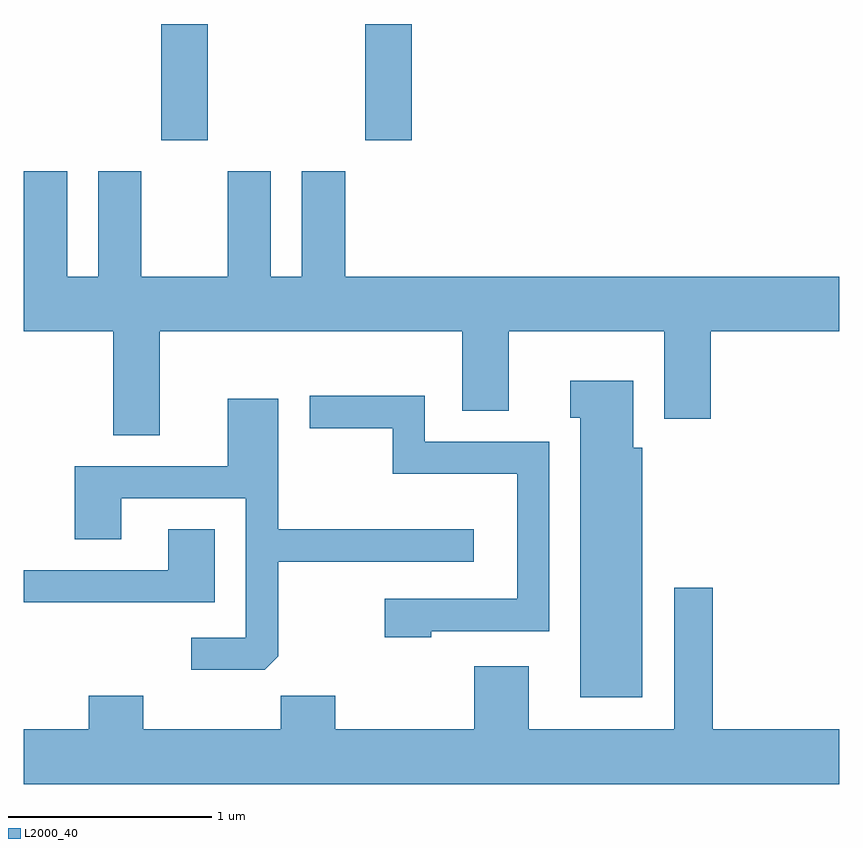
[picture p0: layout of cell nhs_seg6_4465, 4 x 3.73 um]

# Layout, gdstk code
import gdstk
lib = gdstk.Library(unit=1e-6, precision=1e-09)
def R(c, l, rs):  # rectangles x0, y0, x1, y1
    for r in rs: c.add(gdstk.rectangle(r[:2], r[2:], *l))
def P(c, l, *ps):  # polygons
    for p in ps: c.add(gdstk.Polygon(p, *l))
L2000_40 = (2000, 40)

nhs_seg6_4465 = lib.new_cell('nhs_seg6_4465')
R(nhs_seg6_4465, L2000_40, [(322.286,1597.591,322.514,1598.162), (323.286,1597.591,323.514,1598.162)])
P(nhs_seg6_4465, L2000_40, [(322.279,1596.656),(323.761,1596.656),(323.761,1596.266),(323.989,1596.266),(323.989,1596.656),(324.751,1596.656),(324.751,1596.226),(324.979,1596.226),(324.979,1596.656),(325.611,1596.656),(325.611,1596.924),(323.189,1596.924),(323.189,1597.439),(322.976,1597.439),(322.976,1596.924),(322.824,1596.924),(322.824,1597.439),(322.611,1597.439),(322.611,1596.924),(322.189,1596.924),(322.189,1597.439),(321.976,1597.439),(321.976,1596.924),(321.824,1596.924),(321.824,1597.439),(321.611,1597.439),(321.611,1596.656),(322.051,1596.656),(322.051,1596.146),(322.279,1596.146)],
  [(324.644,1596.084),(324.599,1596.084),(324.599,1596.414),(324.291,1596.414),(324.291,1596.231),(324.341,1596.231),(324.341,1594.861),(324.644,1594.861)],
  [(323.609,1595.186),(324.189,1595.186),(324.189,1596.114),(323.579,1596.114),(323.579,1596.339),(323.013,1596.339),(323.013,1596.181),(323.421,1596.181),(323.421,1595.956),(324.031,1595.956),(324.031,1595.344),(323.381,1595.344),(323.381,1595.156),(323.609,1595.156)],
  [(322.859,1595.062),(322.859,1595.526),(323.818,1595.526),(323.818,1595.684),(322.859,1595.684),(322.859,1596.324),(322.611,1596.324),(322.611,1595.994),(321.861,1595.994),(321.861,1595.636),(322.089,1595.636),(322.089,1595.836),(322.701,1595.836),(322.701,1595.154),(322.433,1595.154),(322.433,1594.996),(322.794,1594.996)],
  [(322.549,1595.684),(322.321,1595.684),(322.321,1595.484),(321.611,1595.484),(321.611,1595.326),(322.549,1595.326)],
  [(325.611,1594.704),(324.989,1594.704),(324.989,1595.399),(324.801,1595.399),(324.801,1594.704),(324.089,1594.704),(324.089,1595.014),(323.821,1595.014),(323.821,1594.704),(323.139,1594.704),(323.139,1594.869),(322.871,1594.869),(322.871,1594.704),(322.199,1594.704),(322.199,1594.869),(321.931,1594.869),(321.931,1594.704),(321.611,1594.704),(321.611,1594.436),(325.611,1594.436)])

lib.write_gds('nhs_seg6_4465.gds')
